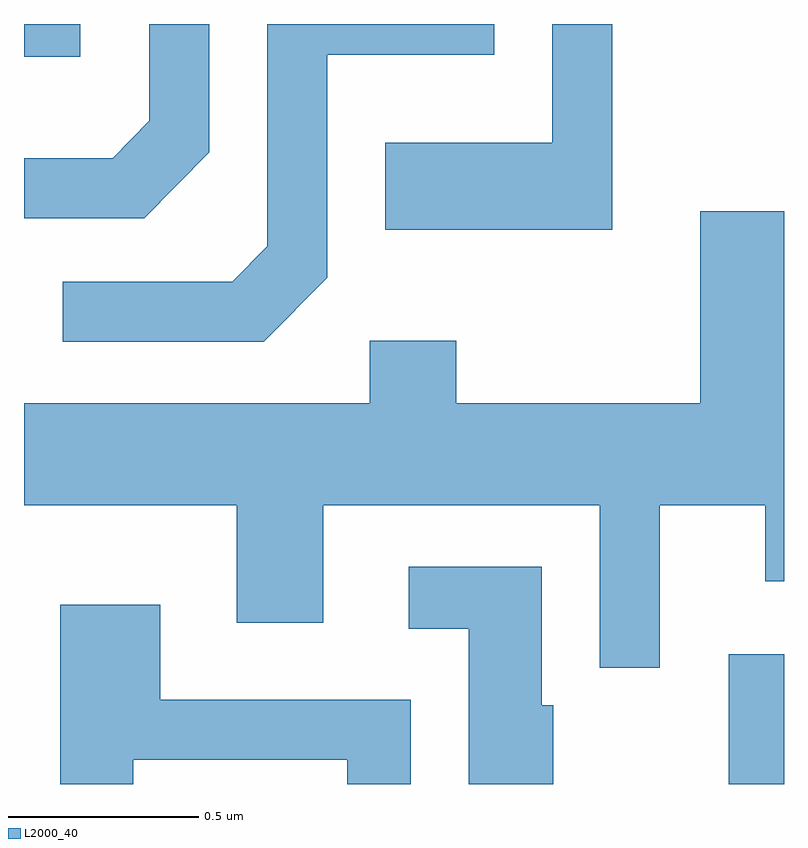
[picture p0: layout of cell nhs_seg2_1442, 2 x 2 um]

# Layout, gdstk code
import gdstk
lib = gdstk.Library(unit=1e-6, precision=1e-09)
def R(c, l, rs):  # rectangles x0, y0, x1, y1
    for r in rs: c.add(gdstk.rectangle(r[:2], r[2:], *l))
def P(c, l, *ps):  # polygons
    for p in ps: c.add(gdstk.Polygon(p, *l))
L2000_40 = (2000, 40)

nhs_seg2_1442 = lib.new_cell('nhs_seg2_1442')
R(nhs_seg2_1442, L2000_40, [(197.466,1049.802,197.611,1050.144), (195.611,1051.716,195.759,1051.802)])
P(nhs_seg2_1442, L2000_40, [(196.099,1051.464),(196.099,1051.802),(195.941,1051.802),(195.941,1051.547),(195.844,1051.449),(195.611,1051.449),(195.611,1051.291),(195.927,1051.291)],
  [(196.409,1051.134),(196.409,1051.721),(196.849,1051.721),(196.849,1051.802),(196.251,1051.802),(196.251,1051.217),(196.159,1051.124),(195.713,1051.124),(195.713,1050.966),(196.242,1050.966)],
  [(197.159,1051.802),(197.001,1051.802),(197.001,1051.489),(196.561,1051.489),(196.561,1051.261),(197.159,1051.261)],
  [(197.284,1050.536),(197.561,1050.536),(197.561,1050.336),(197.611,1050.336),(197.611,1051.309),(197.391,1051.309),(197.391,1050.804),(196.749,1050.804),(196.749,1050.969),(196.521,1050.969),(196.521,1050.804),(195.611,1050.804),(195.611,1050.536),(196.171,1050.536),(196.171,1050.226),(196.399,1050.226),(196.399,1050.536),(197.126,1050.536),(197.126,1050.108),(197.284,1050.108)],
  [(197.004,1050.009),(196.974,1050.009),(196.974,1050.374),(196.623,1050.374),(196.623,1050.211),(196.781,1050.211),(196.781,1049.802),(197.004,1049.802)],
  [(195.899,1049.866),(196.461,1049.866),(196.461,1049.802),(196.629,1049.802),(196.629,1050.024),(195.969,1050.024),(195.969,1050.274),(195.706,1050.274),(195.706,1049.802),(195.899,1049.802)])

lib.write_gds('nhs_seg2_1442.gds')
